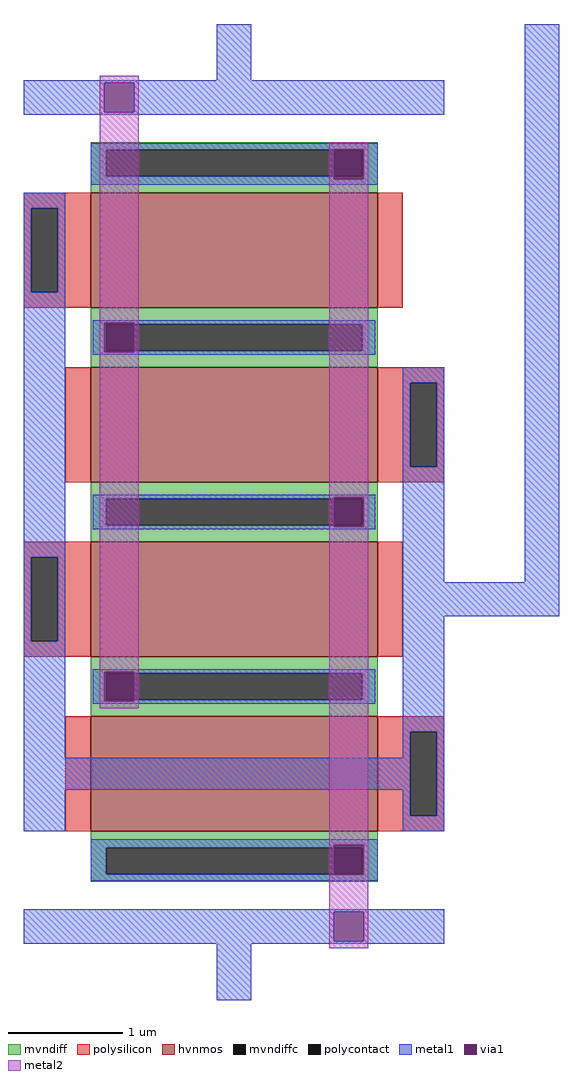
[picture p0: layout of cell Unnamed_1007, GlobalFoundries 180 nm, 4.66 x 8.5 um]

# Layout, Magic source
magic
tech gf180mcuD
magscale 1 10
<< hvnmos >>
rect -500 926 0 1126
rect -500 622 0 822
rect -500 318 0 518
rect -500 14 0 214
<< mvndiff >>
rect -500 1201 0 1214
rect -500 1155 -473 1201
rect -27 1155 0 1201
rect -500 1126 0 1155
rect -500 897 0 926
rect -500 851 -473 897
rect -27 851 0 897
rect -500 822 0 851
rect -500 593 0 622
rect -500 547 -473 593
rect -27 547 0 593
rect -500 518 0 547
rect -500 289 0 318
rect -500 243 -473 289
rect -27 243 0 289
rect -500 214 0 243
rect -500 -15 0 14
rect -500 -61 -473 -15
rect -27 -61 0 -15
rect -500 -74 0 -61
<< mvndiffc >>
rect -473 1155 -27 1201
rect -473 851 -27 897
rect -473 547 -27 593
rect -473 243 -27 289
rect -473 -61 -27 -15
<< polysilicon >>
rect -616 1099 -500 1126
rect -616 953 -603 1099
rect -557 953 -500 1099
rect -616 926 -500 953
rect 0 926 44 1126
rect -544 622 -500 822
rect 0 795 116 822
rect 0 649 57 795
rect 103 649 116 795
rect 0 622 116 649
rect -616 491 -500 518
rect -616 345 -603 491
rect -557 345 -500 491
rect -616 318 -500 345
rect 0 318 44 518
rect -544 14 -500 214
rect 0 187 116 214
rect 0 41 57 187
rect 103 41 116 187
rect 0 14 116 41
<< polycontact >>
rect -603 953 -557 1099
rect 57 649 103 795
rect -603 345 -557 491
rect 57 41 103 187
<< metal1 >>
rect -280 1322 -220 1420
rect -616 1318 116 1322
rect -616 1266 -476 1318
rect -424 1266 116 1318
rect -616 1262 116 1266
rect -500 1202 0 1212
rect -500 1201 -76 1202
rect -500 1155 -473 1201
rect -500 1150 -76 1155
rect -24 1150 0 1202
rect -500 1140 0 1150
rect -616 1099 -544 1126
rect -616 953 -603 1099
rect -557 953 -544 1099
rect -616 491 -544 953
rect -496 900 -4 904
rect -496 848 -476 900
rect -424 897 -4 900
rect -27 851 -4 897
rect -424 848 -4 851
rect -496 844 -4 848
rect 44 795 116 822
rect 44 649 57 795
rect 103 649 116 795
rect -496 596 -4 600
rect -496 593 -76 596
rect -496 547 -473 593
rect -496 544 -76 547
rect -24 544 -4 596
rect -496 540 -4 544
rect -616 345 -603 491
rect -557 345 -544 491
rect -616 142 -544 345
rect 44 448 116 649
rect 256 448 316 1420
rect 44 388 316 448
rect -496 292 -4 296
rect -496 240 -476 292
rect -424 289 -4 292
rect -27 243 -4 289
rect -424 240 -4 243
rect -496 236 -4 240
rect 44 187 116 388
rect 44 142 57 187
rect -616 86 57 142
rect -616 14 -544 86
rect 44 41 57 86
rect 103 41 116 187
rect 44 14 116 41
rect -500 -10 0 0
rect -500 -15 -76 -10
rect -500 -61 -473 -15
rect -500 -62 -76 -61
rect -24 -62 0 -10
rect -500 -72 0 -62
rect -616 -126 116 -122
rect -616 -178 -76 -126
rect -24 -178 116 -126
rect -616 -182 116 -178
rect -280 -280 -220 -182
<< via1 >>
rect -476 1266 -424 1318
rect -76 1201 -24 1202
rect -76 1155 -27 1201
rect -27 1155 -24 1201
rect -76 1150 -24 1155
rect -476 897 -424 900
rect -476 851 -473 897
rect -473 851 -424 897
rect -476 848 -424 851
rect -76 593 -24 596
rect -76 547 -27 593
rect -27 547 -24 593
rect -76 544 -24 547
rect -476 289 -424 292
rect -476 243 -473 289
rect -473 243 -424 289
rect -476 240 -424 243
rect -76 -15 -24 -10
rect -76 -61 -27 -15
rect -27 -61 -24 -15
rect -76 -62 -24 -61
rect -76 -178 -24 -126
<< metal2 >>
rect -484 1318 -416 1330
rect -484 1266 -476 1318
rect -424 1266 -416 1318
rect -484 900 -416 1266
rect -484 848 -476 900
rect -424 848 -416 900
rect -484 292 -416 848
rect -484 240 -476 292
rect -424 240 -416 292
rect -484 228 -416 240
rect -84 1202 -16 1214
rect -84 1150 -76 1202
rect -24 1150 -16 1202
rect -84 596 -16 1150
rect -84 544 -76 596
rect -24 544 -16 596
rect -84 -10 -16 544
rect -84 -62 -76 -10
rect -24 -62 -16 -10
rect -84 -126 -16 -62
rect -84 -178 -76 -126
rect -24 -178 -16 -126
rect -84 -190 -16 -178
<< end >>
